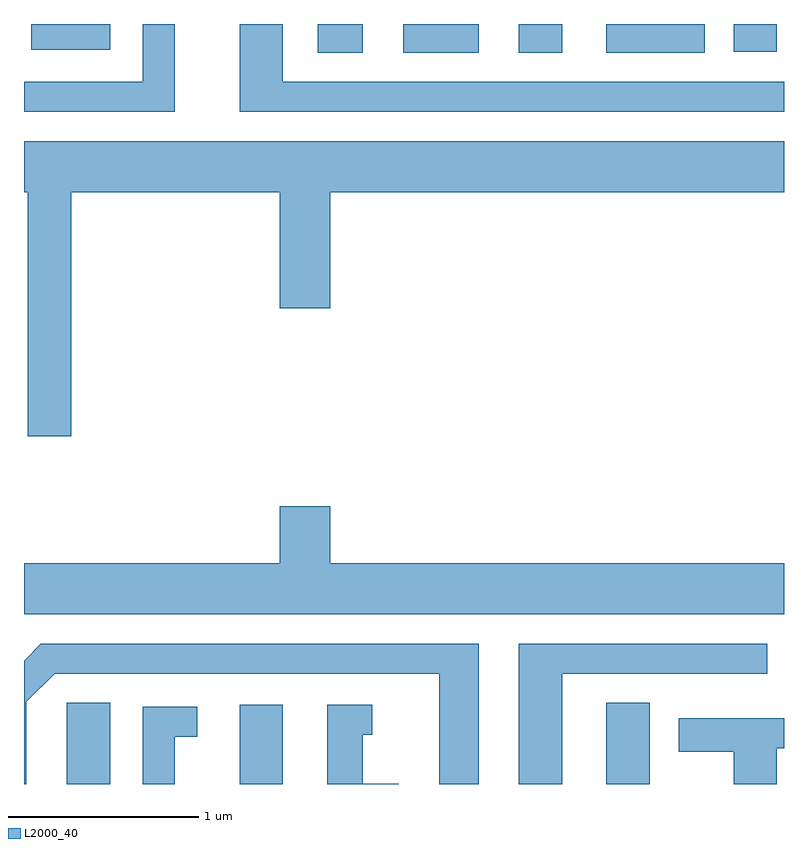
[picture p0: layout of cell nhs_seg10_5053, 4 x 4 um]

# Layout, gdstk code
import gdstk
lib = gdstk.Library(unit=1e-6, precision=1e-09)
def R(c, l, rs):  # rectangles x0, y0, x1, y1
    for r in rs: c.add(gdstk.rectangle(r[:2], r[2:], *l))
def P(c, l, *ps):  # polygons
    for p in ps: c.add(gdstk.Polygon(p, *l))
L2000_40 = (2000, 40)

nhs_seg10_5053 = lib.new_cell('nhs_seg10_5053')
R(nhs_seg10_5053, L2000_40, [(333.836,2168.522,334.064,2168.949), (334.746,2168.522,334.974,2168.939), (336.676,2168.522,336.904,2168.949), (335.158,2172.371,335.394,2172.522), (335.608,2172.371,336.004,2172.522), (336.216,2172.371,336.444,2172.522), (336.676,2172.371,337.194,2172.522), (337.346,2172.376,337.574,2172.522), (333.648,2172.386,334.064,2172.522)])
P(nhs_seg10_5053, L2000_40, [(334.404,2172.522),(334.236,2172.522),(334.236,2172.219),(333.611,2172.219),(333.611,2172.061),(334.404,2172.061)],
  [(337.611,2172.219),(334.974,2172.219),(334.974,2172.522),(334.746,2172.522),(334.746,2172.061),(337.611,2172.061)],
  [(333.859,2171.636),(334.956,2171.636),(334.956,2171.026),(335.224,2171.026),(335.224,2171.636),(337.611,2171.636),(337.611,2171.904),(333.611,2171.904),(333.611,2171.636),(333.631,2171.636),(333.631,2170.351),(333.859,2170.351)],
  [(337.611,2169.684),(335.224,2169.684),(335.224,2169.984),(334.956,2169.984),(334.956,2169.684),(333.611,2169.684),(333.611,2169.416),(337.611,2169.416)],
  [(333.624,2168.954),(333.772,2169.101),(335.796,2169.101),(335.796,2168.522),(336.004,2168.522),(336.004,2169.259),(333.699,2169.259),(333.611,2169.171),(333.611,2168.522),(333.624,2168.522)],
  [(336.444,2169.101),(337.523,2169.101),(337.523,2169.259),(336.216,2169.259),(336.216,2168.522),(336.444,2168.522)],
  [(335.584,2168.524),(335.394,2168.524),(335.394,2168.781),(335.443,2168.781),(335.443,2168.939),(335.206,2168.939),(335.206,2168.522),(335.584,2168.522)],
  [(334.404,2168.771),(334.523,2168.771),(334.523,2168.929),(334.236,2168.929),(334.236,2168.522),(334.404,2168.522)],
  [(337.574,2168.711),(337.611,2168.711),(337.611,2168.869),(337.056,2168.869),(337.056,2168.691),(337.346,2168.691),(337.346,2168.522),(337.574,2168.522)])

lib.write_gds('nhs_seg10_5053.gds')
